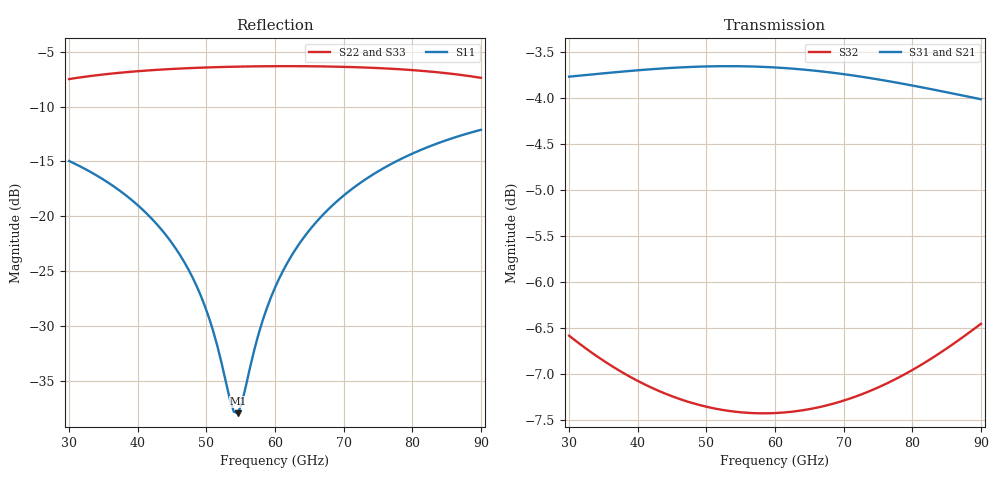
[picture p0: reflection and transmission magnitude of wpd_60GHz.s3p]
#  GHZ S DB R 50
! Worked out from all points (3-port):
!   101 points, 30 GHz to 90 GHz, reference 50 ohm
!   strongest paths, dB at 30 GHz, 45 GHz, 60 GHz, 75 GHz, 90 GHz:
!     S31: -3.8, -3.7, -3.7, -3.8, -4.0
!     S21: -3.8, -3.7, -3.7, -3.8, -4.0
!     S32: -6.6, -7.2, -7.4, -7.1, -6.5
!   lowest |S11| = -38.0 dB at 54.6 GHz (marker M1), VSWR 1.03, Z = 51.3 - j0.108 ohm
!   |S11| at or under -10 dB: start of sweep to end of sweep
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30  -14.97 128.8  -3.77 -45.3  -3.76 -45.3
    -3.77 -45.3  -7.49 45.2  -6.58 -99.0
    -3.76 -45.3  -6.58 -99.0  -7.49 45.2
39  -18.46 112.7  -3.70 -59.2  -3.70 -59.2
    -3.70 -59.2  -6.83 27.3  -7.03 -124.4
    -3.70 -59.2  -7.03 -124.4  -6.83 27.3
45.6  -23.01 98.0  -3.67 -69.6  -3.67 -69.6
      -3.67 -69.6  -6.55 16.0  -7.26 -142.6
      -3.67 -69.6  -7.26 -142.6  -6.55 16.0
49.8  -28.23 82.7  -3.65 -76.2  -3.65 -76.3
      -3.65 -76.2  -6.44 9.4  -7.35 -154.0
      -3.65 -76.3  -7.35 -154.0  -6.44 9.4
53.4  -36.64 37.8  -3.65 -82.0  -3.65 -82.0
      -3.65 -82.0  -6.37 3.9  -7.40 -163.8
      -3.65 -82.0  -7.40 -163.8  -6.38 3.8
54.6  -37.98 -4.8  -3.65 -83.9  -3.65 -83.9
      -3.65 -83.9  -6.36 2.1  -7.41 -167.0
      -3.65 -83.9  -7.41 -167.0  -6.36 2.0
60  -26.52 -79.6  -3.66 -92.5  -3.66 -92.6
    -3.66 -92.5  -6.32 -6.0  -7.42 178.3
    -3.66 -92.6  -7.42 178.3  -6.32 -6.1
64.8  -21.45 -94.2  -3.69 -100.2  -3.69 -100.2
      -3.69 -100.2  -6.32 -13.3  -7.38 165.3
      -3.69 -100.2  -7.38 165.3  -6.32 -13.3
70.8  -17.72 -106.7  -3.74 -109.8  -3.74 -109.8
      -3.74 -109.8  -6.39 -22.6  -7.27 148.8
      -3.74 -109.8  -7.27 148.8  -6.39 -22.7
90  -12.12 -139.1  -4.00 -139.6  -4.01 -139.6
    -4.00 -139.6  -7.38 -59.7  -6.45 93.8
    -4.01 -139.6  -6.45 93.8  -7.36 -59.7
